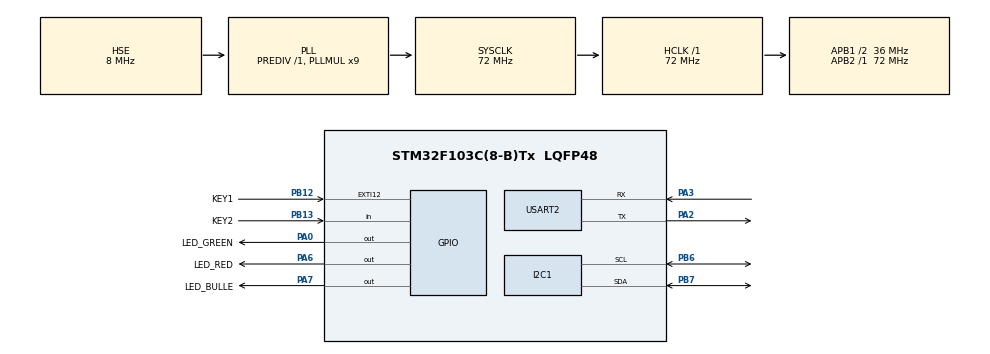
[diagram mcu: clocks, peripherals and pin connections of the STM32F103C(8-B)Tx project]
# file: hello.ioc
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Dma.I2C1_RX.0.Direction=DMA_PERIPH_TO_MEMORY
Dma.I2C1_RX.0.Instance=DMA1_Channel7
Dma.I2C1_RX.0.MemDataAlignment=DMA_MDATAALIGN_BYTE
Dma.I2C1_RX.0.MemInc=DMA_MINC_ENABLE
Dma.I2C1_RX.0.Mode=DMA_NORMAL
Dma.I2C1_RX.0.PeriphDataAlignment=DMA_PDATAALIGN_BYTE
Dma.I2C1_RX.0.PeriphInc=DMA_PINC_DISABLE
Dma.I2C1_RX.0.Priority=DMA_PRIORITY_LOW
Dma.I2C1_TX.1.Direction=DMA_MEMORY_TO_PERIPH
Dma.I2C1_TX.1.Instance=DMA1_Channel6
Dma.I2C1_TX.1.MemDataAlignment=DMA_MDATAALIGN_BYTE
Dma.I2C1_TX.1.MemInc=DMA_MINC_ENABLE
Dma.I2C1_TX.1.Mode=DMA_NORMAL
Dma.I2C1_TX.1.PeriphDataAlignment=DMA_PDATAALIGN_BYTE
Dma.I2C1_TX.1.PeriphInc=DMA_PINC_DISABLE
Dma.I2C1_TX.1.Priority=DMA_PRIORITY_LOW
Dma.Request0=I2C1_RX
Dma.Request1=I2C1_TX
Mcu.Family=STM32F1
Mcu.Name=STM32F103C(8-B)Tx
Mcu.Package=LQFP48
NVIC.DMA1_Channel6_IRQn=true\:0\:0\:false\:false\:true\:false\:true\:true
NVIC.DMA1_Channel7_IRQn=true\:0\:0\:false\:false\:true\:false\:true\:true
NVIC.EXTI15_10_IRQn=true\:15\:0\:true\:false\:true\:true\:true\:true
NVIC.I2C1_ER_IRQn=true\:0\:0\:false\:false\:true\:true\:true\:true
NVIC.I2C1_EV_IRQn=true\:0\:0\:false\:false\:true\:true\:true\:true
NVIC.PriorityGroup=NVIC_PRIORITYGROUP_4
NVIC.USART2_IRQn=true\:0\:0\:false\:false\:true\:true\:true\:true
PA0-WKUP.GPIO_Label=LED_GREEN
PA0-WKUP.Signal=GPIO_Output
PA13.Mode=Serial_Wire
PA13.Signal=SYS_JTMS-SWDIO
PA14.Mode=Serial_Wire
PA14.Signal=SYS_JTCK-SWCLK
PA2.Mode=Asynchronous
PA2.Signal=USART2_TX
PA3.Mode=Asynchronous
PA3.Signal=USART2_RX
PA6.GPIO_Label=LED_RED
PA6.Signal=GPIO_Output
PA7.GPIO_Label=LED_BULLE
PA7.Signal=GPIO_Output
PB12.GPIO_Label=KEY1
PB12.GPIO_ModeDefaultEXTI=GPIO_MODE_IT_FALLING
PB12.Signal=GPXTI12
PB13.GPIO_Label=KEY2
PB13.GPIO_PuPd=GPIO_NOPULL
PB13.Signal=GPIO_Input
PB6.Mode=I2C
PB6.Signal=I2C1_SCL
PB7.Mode=I2C
PB7.Signal=I2C1_SDA
PD0-OSC_IN.Mode=HSE-External-Oscillator
PD0-OSC_IN.Signal=RCC_OSC_IN
PD1-OSC_OUT.Mode=HSE-External-Oscillator
PD1-OSC_OUT.Signal=RCC_OSC_OUT
ProjectManager.HeapSize=0x200
ProjectManager.StackSize=0x400
ProjectManager.TargetToolchain=MDK-ARM V5.32
RCC.AHBFreq_Value=72000000
RCC.APB1CLKDivider=RCC_HCLK_DIV2
RCC.APB1Freq_Value=36000000
RCC.APB1TimFreq_Value=72000000
RCC.APB2Freq_Value=72000000
RCC.APB2TimFreq_Value=72000000
RCC.HCLKFreq_Value=72000000
RCC.PLLMUL=RCC_PLL_MUL9
RCC.PLLSourceVirtual=RCC_PLLSOURCE_HSE
RCC.SYSCLKFreq_VALUE=72000000
RCC.SYSCLKSource=RCC_SYSCLKSOURCE_PLLCLK
RCC.USBFreq_Value=72000000
USART2.VirtualMode=VM_ASYNC
board=custom

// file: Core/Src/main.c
/* USER CODE BEGIN Header */
/**
  ******************************************************************************
  * @file           : main.c
  * @brief          : Main program body
  ******************************************************************************
  * @attention
  *
  * Copyright (c) 2025 STMicroelectronics.
  * All rights reserved.
  *
  * This software is licensed under terms that can be found in the LICENSE file
  * in the root directory of this software component.
  * If no LICENSE file comes with this software, it is provided AS-IS.
  *
  ******************************************************************************
  */
/* USER CODE END Header */
#include "main.h"
#include "dma.h"
#include "i2c.h"
#include "usart.h"
#include "gpio.h"

/* USER CODE BEGIN Includes */
#include <string.h>
#include "stdio.h"
#include "aht20.h"
/* USER CODE END Includes */

/* USER CODE BEGIN PV */
uint8_t receiveData[50];
//uint8_t aht20State=0;
/* USER CODE END PV */

void SystemClock_Config(void);

/* USER CODE BEGIN 0 */
/*void HAL_UART_RxCpltCallback(UART_HandleTypeDef *huart)
{
	  HAL_UART_Transmit_IT(&huart2,receiveData,2);
	  GPIO_PinState state =GPIO_PIN_SET;

	  if(receiveData[1]=='0')
	  {
		  state=GPIO_PIN_RESET;
	  }

	 if(receiveData[0]=='R')
	 {
		 HAL_GPIO_WritePin(LED_RED_GPIO_Port,LED_RED_Pin,state);
	 }
	 	else if(receiveData[0]=='G')
	 {
		 HAL_GPIO_WritePin(LED_GREEN_GPIO_Port,LED_GREEN_Pin,state);
	 }
	 	else if(receiveData[0]=='B')
	 {
		 HAL_GPIO_WritePin(LED_BULLE_GPIO_Port,LED_BULLE_Pin,state);
	 }
	 HAL_UART_Receive_IT(&huart2,receiveData,2);
}*/
/*void HAL_UART_RxCpltCallback(UART_HandleTypeDef *huart)
{
	  HAL_UART_Transmit_DMA(&huart2,receiveData,2);
	  GPIO_PinState state =GPIO_PIN_SET;

	  if(receiveData[1]=='0')
	  {
		  state=GPIO_PIN_RESET;
	  }

	 if(receiveData[0]=='R')
	 {
		 HAL_GPIO_WritePin(LED_RED_GPIO_Port,LED_RED_Pin,state);
	 }
	 	else if(receiveData[0]=='G')
	 {
		 HAL_GPIO_WritePin(LED_GREEN_GPIO_Port,LED_GREEN_Pin,state);
	 }
	 	else if(receiveData[0]=='B')
	 {
		 HAL_GPIO_WritePin(LED_BULLE_GPIO_Port,LED_BULLE_Pin,state);
	 }
	 HAL_UART_Receive_DMA(&huart2,receiveData,2);
}*/
	/*void HAL_UARTEx_RxEventCallback(UART_HandleTypeDef *huart, uint16_t Size)
	{
		if(huart==&huart2)
		{
			HAL_UART_Transmit_DMA(&huart2,receiveData,Size);

			HAL_UART_Receive_DMA(&huart2,receiveData,sizeof(receiveData));
			__HAL_DMA_DISABLE_IT(&hdma_usart2_rx,DMA_IT_HT);
		}
	}*/
/* USER CODE END 0 */

int main(void)
{

  /* MCU Configuration--------------------------------------------------------*/

  /* Reset of all peripherals, Initializes the Flash interface and the Systick. */
  HAL_Init();

  /* Configure the system clock */
  SystemClock_Config();

  /* Initialize all configured peripherals */
  MX_GPIO_Init();
  MX_DMA_Init();
  MX_USART2_UART_Init();
  MX_I2C1_Init();
  /* USER CODE BEGIN 2 */
  AHT20_Init();
  float temperature,humidity;
  char message[50];
	//int state=0;
	//char message[]="hello world";

	 //HAL_UART_Receive_IT(&huart2,receiveData,2);

	// HAL_UART_Receive_DMA(&huart2,receiveData,2);

	HAL_UARTEx_ReceiveToIdle_DMA(&huart2,receiveData,50);
	__HAL_DMA_DISABLE_IT(&hdma_usart2_rx,DMA_IT_HT);
  /* USER CODE END 2 */

  /* Infinite loop */
  /* USER CODE BEGIN WHILE */
  while (1)
  {

	  if(aht20State==0)
	  {
		 AHT20_Measure();
		aht20State=1;
	  }else if(aht20State==2)
	  {
		  HAL_Delay(75);
		  AHT20_Get();
		  aht20State=3;

	  }else if(aht20State==3)
	  {

	  }else if(aht20State==4)
	  {
		  AHT20_Analysis(&temperature,&humidity);
		  HAL_UART_Transmit(&huart2,(uint8_t*)message,strlen(message),100);
		  HAL_Delay(1000);
		  aht20State=0;
	  }
	  /*AHT20_Read(&temperature,&humidity);
	  sprintf(message,"�¶ȣ�%.1f,ʪ�ȣ�%.1f %%\r\n",temperature,humidity);
	  HAL_UART_Transmit(&huart2,(uint8_t*)message,strlen(message),HAL_MAX_DELAY);
	  HAL_Delay(1000);*/
	  //HAL_UART_Transmit(&huart2,receiveData,2,100);
	  //HAL_UART_Receive(&huart2,receiveData,2,HAL_MAX_DELAY);

	 /* HAL_UART_Transmit(&huart2,(uint8_t*)message,strlen(message),100);
	  HAL_Delay(1000);*/

	  /*HAL_GPIO_WritePin(LED_BULLE_GPIO_Port,LED_BULLE_Pin,GPIO_PIN_SET);
	  HAL_Delay(2000);
	  HAL_GPIO_WritePin(LED_BULLE_GPIO_Port,LED_BULLE_Pin,GPIO_PIN_RESET);
	  HAL_Delay(2000);*/

	  /*if(HAL_GPIO_ReadPin(KEY1_GPIO_Port,KEY1_Pin)==GPIO_PIN_RESET)
	  {
		  HAL_GPIO_TogglePin(LED_GREEN_GPIO_Port,LED_GREEN_Pin);
		  HAL_Delay(20);
	  }*/

	 /* HAL_GPIO_ReadPin(KEY1_GPIO_Port,KEY1_Pin);
	  if(HAL_GPIO_ReadPin(KEY1_GPIO_Port,KEY1_Pin)==0)
	  {
		  HAL_GPIO_WritePin(LED_GREEN_GPIO_Port,LED_GREEN_Pin,GPIO_PIN_SET);
	  }
	  else{
		   HAL_GPIO_WritePin(LED_GREEN_GPIO_Port,LED_GREEN_Pin,GPIO_PIN_RESET);
	  }

	  if(HAL_GPIO_ReadPin(KEY2_GPIO_Port,KEY2_Pin)==0)
	  {
		  HAL_GPIO_TogglePin(LED_RED_GPIO_Port,LED_RED_Pin);
		  while(HAL_GPIO_ReadPin(KEY2_GPIO_Port,KEY2_Pin)==0){};

	  }*/

	/* if(state<=2||state==5)
	 {
		 HAL_GPIO_WritePin(LED_GREEN_GPIO_Port,LED_GREEN_Pin,GPIO_PIN_SET);
	 }
	 else
	 {
		  HAL_GPIO_WritePin(LED_GREEN_GPIO_Port,LED_GREEN_Pin,GPIO_PIN_RESET);
	 }
	 	 if(state>=1&&state<=3)
	 {
		 HAL_GPIO_WritePin(LED_RED_GPIO_Port,LED_RED_Pin,GPIO_PIN_SET);
	 }
	 else
	 {
		  HAL_GPIO_WritePin(LED_RED_GPIO_Port,LED_RED_Pin,GPIO_PIN_RESET);
	 }
	 	 if(state>=3&&state<=5)
	 {
		 HAL_GPIO_WritePin(LED_BULLE_GPIO_Port,LED_BULLE_Pin,GPIO_PIN_SET);
	 }
	 else
	 {
		  HAL_GPIO_WritePin(LED_BULLE_GPIO_Port,LED_BULLE_Pin,GPIO_PIN_RESET);
	 }
	 HAL_Delay(300);
	 state++;
	 if(state>5)
	 {
		 state=0;
	 }*/

    /* USER CODE END WHILE */

  }
}

void SystemClock_Config(void)
{
  RCC_OscInitTypeDef RCC_OscInitStruct = {0};
  RCC_ClkInitTypeDef RCC_ClkInitStruct = {0};

  /** Initializes the RCC Oscillators according to the specified parameters
  * in the RCC_OscInitTypeDef structure.
  */
  RCC_OscInitStruct.OscillatorType = RCC_OSCILLATORTYPE_HSE;
  RCC_OscInitStruct.HSEState = RCC_HSE_ON;
  RCC_OscInitStruct.HSEPredivValue = RCC_HSE_PREDIV_DIV1;
  RCC_OscInitStruct.HSIState = RCC_HSI_ON;
  RCC_OscInitStruct.PLL.PLLState = RCC_PLL_ON;
  RCC_OscInitStruct.PLL.PLLSource = RCC_PLLSOURCE_HSE;
  RCC_OscInitStruct.PLL.PLLMUL = RCC_PLL_MUL9;
  if (HAL_RCC_OscConfig(&RCC_OscInitStruct) != HAL_OK)
  {
    Error_Handler();
  }

  /** Initializes the CPU, AHB and APB buses clocks
  */
  RCC_ClkInitStruct.ClockType = RCC_CLOCKTYPE_HCLK|RCC_CLOCKTYPE_SYSCLK
                              |RCC_CLOCKTYPE_PCLK1|RCC_CLOCKTYPE_PCLK2;
  RCC_ClkInitStruct.SYSCLKSource = RCC_SYSCLKSOURCE_PLLCLK;
  RCC_ClkInitStruct.AHBCLKDivider = RCC_SYSCLK_DIV1;
  RCC_ClkInitStruct.APB1CLKDivider = RCC_HCLK_DIV2;
  RCC_ClkInitStruct.APB2CLKDivider = RCC_HCLK_DIV1;

  if (HAL_RCC_ClockConfig(&RCC_ClkInitStruct, FLASH_LATENCY_2) != HAL_OK)
  {
    Error_Handler();
  }
}

void Error_Handler(void)
{
  __disable_irq();
  while (1)
  {
  }
}
